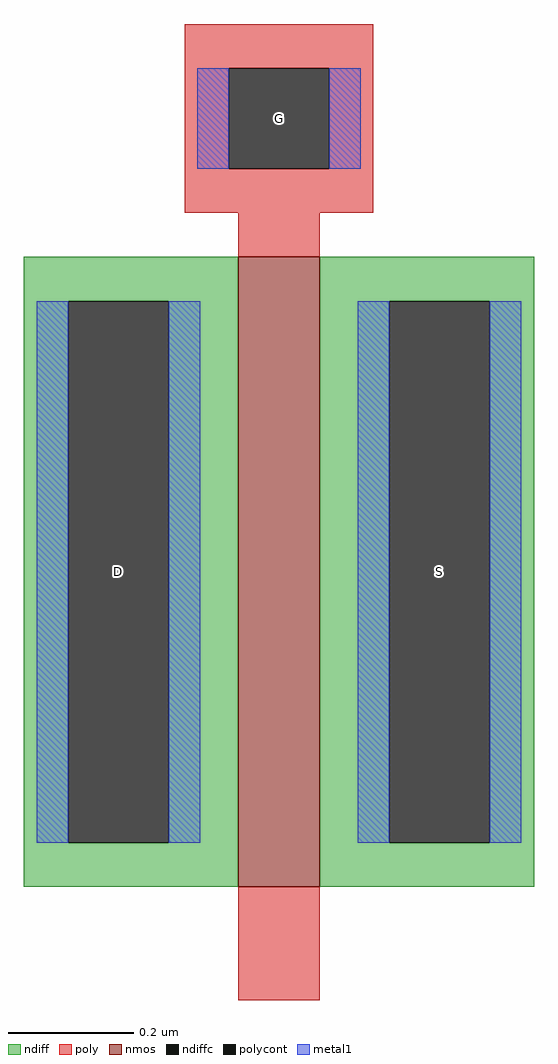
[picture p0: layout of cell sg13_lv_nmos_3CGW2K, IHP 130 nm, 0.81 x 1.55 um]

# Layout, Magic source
magic
tech ihp-sg13g2
magscale 1 2
<< nmos >>
rect -13 -119 13 81
<< ndiff >>
rect -81 67 -13 81
rect -81 -105 -67 67
rect -35 -105 -13 67
rect -81 -119 -13 -105
rect 13 67 81 81
rect 13 -105 35 67
rect 67 -105 81 67
rect 13 -119 81 -105
<< ndiffc >>
rect -67 -105 -35 67
rect 35 -105 67 67
<< poly >>
rect -30 141 30 155
rect -30 109 -16 141
rect 16 109 30 141
rect -30 95 30 109
rect -13 81 13 95
rect -13 -155 13 -119
<< polycont >>
rect -16 109 16 141
<< metal1 >>
rect -26 109 -16 141
rect 16 109 26 141
rect -77 -105 -67 67
rect -35 -105 -25 67
rect 25 -105 35 67
rect 67 -105 77 67
<< labels >>
rlabel ndiffc -51 -19 -51 -19 0 D
port 1 nsew
rlabel ndiffc 51 -19 51 -19 0 S
port 2 nsew
rlabel polycont 0 125 0 125 0 G
port 3 nsew
<< properties >>
string gencell sg13_lv_nmos
string library sg13g2
string parameters w 1.0 l 0.13 m 1 nf 1 diffcov 100 polycov 100 guard 0 glc 1 grc 1 gtc 1 gbc 1 tbcov 100 rlcov 100 topc 1 botc 0 poverlap 0 doverlap 1 lmin 0.13 wmin 0.15 class mosfet compatible {sg13_lv_nmos sg13_hv_nmos} full_metal 0 conn_gates 0 gate_ring 0 doports 1 viasrc 0 viadrn 0 viagate 0 ccols 1 viagb 0 viagr 0 viagl 0 viagt 0
<< end >>
